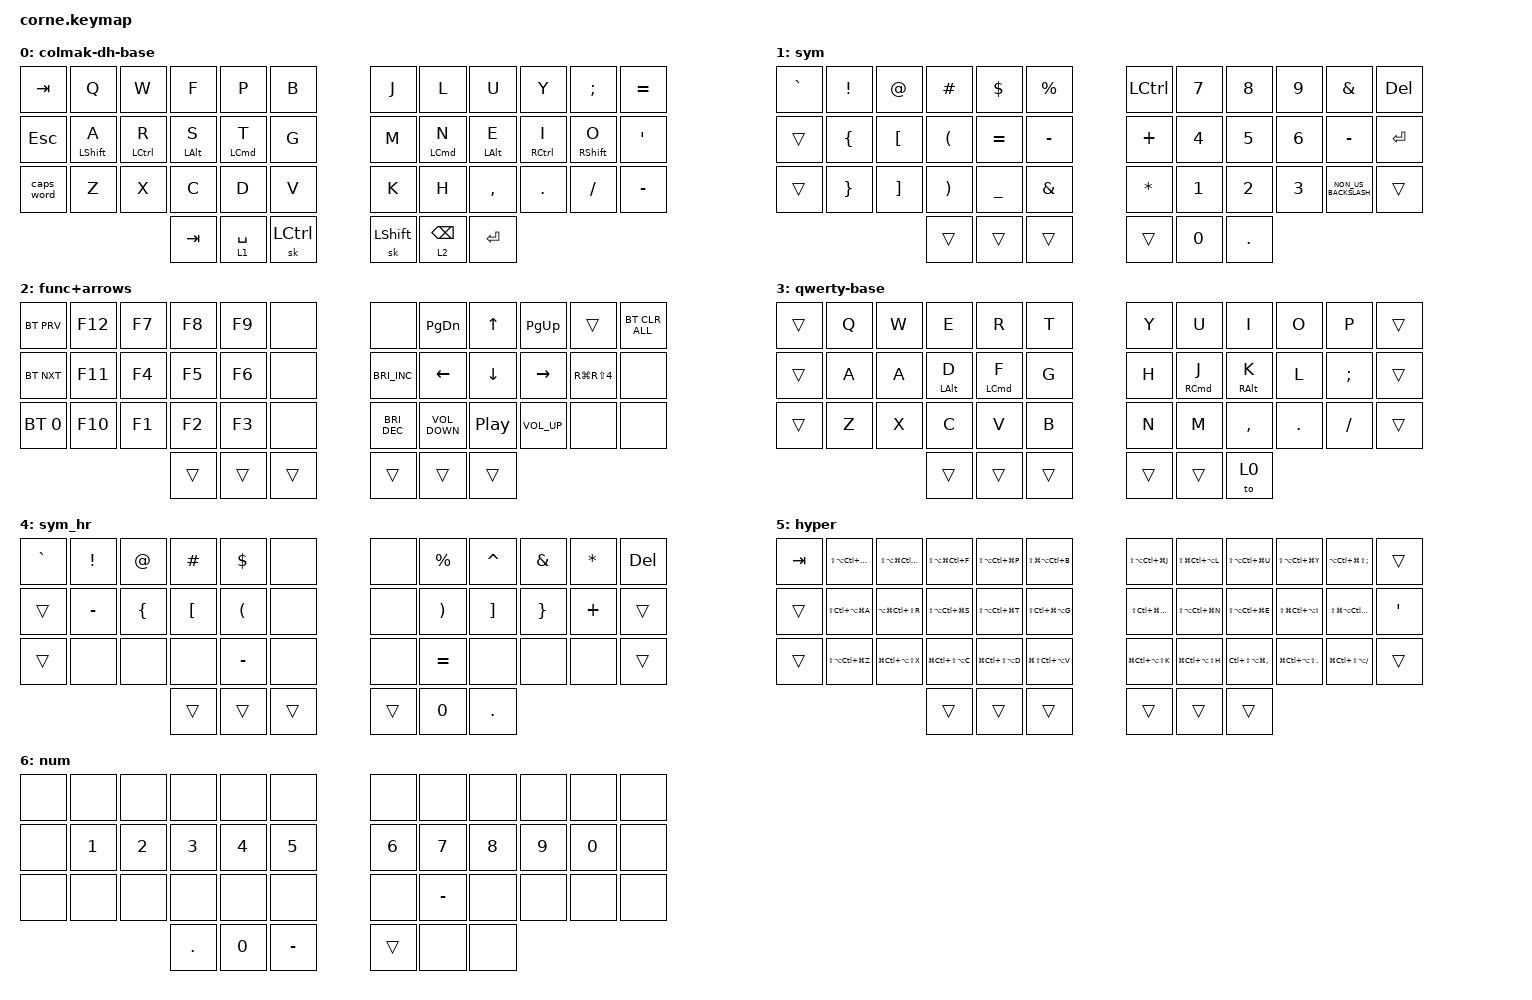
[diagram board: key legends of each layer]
/*
 * Copyright (c) 3520 The ZMK Contributors
 *
 * SPDX-License-Identifier: MIT
 */

#include <behaviors.dtsi>
#include <dt-bindings/zmk/bt.h>
#include <dt-bindings/zmk/keys.h>

&sk {
    release-after-ms = <2000>;
    quick-release;
};

&mt {
    tapping-term-ms = <280>;
    quick-tap-ms = <175>;
    require-prior-idle-ms = <100>;
    flavor = "balanced";
    hold-while-undecided;
    hold-trigger-on-release;
};

&lt {
    tapping-term-ms = <200>;
    quick-tap-ms = <125>;
    require-prior-idle-ms = <80>;
    flavor = "balanced";
    hold-while-undecided;
    hold-trigger-on-release;
};

/ {
    combos {
        compatible = "zmk,combos";

        left_brace {
            bindings = <&kp LEFT_BRACE>;
            key-positions = <4 5>;
            timeout-ms = <35>;
        };

        left_square_bracket {
            bindings = <&kp LEFT_BRACKET>;
            key-positions = <2 3>;
            timeout-ms = <35>;
        };

        left_paren {
            bindings = <&kp LEFT_PARENTHESIS>;
            key-positions = <3 4>;
            timeout-ms = <35>;
        };

        right_brace {
            bindings = <&kp RIGHT_BRACE>;
            key-positions = <6 7>;
            timeout-ms = <35>;
        };

        right_square_bracket {
            bindings = <&kp RIGHT_BRACKET>;
            key-positions = <8 9>;
            timeout-ms = <35>;
        };

        right_paren {
            bindings = <&kp RIGHT_PARENTHESIS>;
            key-positions = <7 8>;
            timeout-ms = <35>;
        };

        underscore {
            bindings = <&kp UNDERSCORE>;
            key-positions = <27 26>;
            timeout-ms = <30>;
        };

        equals {
            bindings = <&kp EQUAL>;
            key-positions = <32 31>;
            timeout-ms = <30>;
        };

        dash {
            bindings = <&kp MINUS>;
            key-positions = <27 28>;
            timeout-ms = <30>;
        };

        plus {
            bindings = <&kp PLUS>;
            key-positions = <32 33>;
            timeout-ms = <30>;
        };

        pipe {
            bindings = <&kp PIPE>;
            key-positions = <29 28>;
            timeout-ms = <30>;
        };

        backslash {
            bindings = <&kp BACKSLASH>;
            key-positions = <30 31>;
            timeout-ms = <30>;
        };

        copy {
            bindings = <&kp LG(C)>;
            key-positions = <27 15>;
            timeout-ms = <30>;
        };

        paste {
            bindings = <&kp LG(V)>;
            key-positions = <16 28>;
            timeout-ms = <30>;
        };

        exclaimation {
            bindings = <&kp EXCL>;
            key-positions = <1 13>;
            timeout-ms = <30>;
        };

        at {
            bindings = <&kp AT_SIGN>;
            key-positions = <14 2>;
            timeout-ms = <30>;
        };

        hash {
            bindings = <&kp HASH>;
            key-positions = <15 3>;
            timeout-ms = <30>;
        };

        dollar {
            bindings = <&kp DOLLAR>;
            key-positions = <16 4>;
            timeout-ms = <30>;
        };

        percent {
            bindings = <&kp PERCENT>;
            key-positions = <5 17>;
            timeout-ms = <30>;
        };

        caret {
            bindings = <&kp CARET>;
            key-positions = <6 18>;
            timeout-ms = <30>;
        };

        ampersand {
            bindings = <&kp AMPERSAND>;
            key-positions = <7 19>;
            timeout-ms = <30>;
        };

        asterisk {
            bindings = <&kp ASTERISK>;
            key-positions = <8 20>;
            timeout-ms = <30>;
        };

        colon {
            bindings = <&kp COLON>;
            key-positions = <9 21>;
            timeout-ms = <30>;
        };

        semi-colon {
            bindings = <&kp SEMICOLON>;
            key-positions = <10 22>;
            timeout-ms = <30>;
        };

        enter {
            bindings = <&kp ENTER>;
            key-positions = <19 20 21>;
            timeout-ms = <30>;
        };

        tab {
            bindings = <&kp TAB>;
            key-positions = <14 16 15>;
            timeout-ms = <30>;
        };
    };

    behaviors {
        to_reset: to_reset {
            compatible = "zmk,behavior-tap-dance";
            label = "TAPDANCE_TO_RESET";
            #binding-cells = <0>;
            bindings = <&none>, <&to_reset>;
        };

        to_boot: to_bootloader {
            compatible = "zmk,behavior-tap-dance";
            label = "TAPDANCE_TO_BOOT";
            #binding-cells = <0>;
            bindings = <&none>, <&to_boot>;
        };

        autoshft: autoshift {
            compatible = "zmk,behavior-hold-tap";
            label = "AUTOSHIFT_HOLD_TAP";
            bindings = <&shift>, <&kp>;

            #binding-cells = <2>;
            tapping-term-ms = <190>;
        };

        hrm_l: homerow_mods_left {
            compatible = "zmk,behavior-hold-tap";
            label = "HOMEROW_MODS_LEFT_HAND";
            bindings = <&kp>, <&kp>;

            #binding-cells = <2>;
            tapping-term-ms = <300>;
            hold-trigger-key-positions = <6 7 8 9 10 11 18 19 20 21 22 23 30 31 32 33 34 35 39 40 41>;
            flavor = "balanced";
            hold-trigger-on-release;
            quick-tap-ms = <200>;
            require-prior-idle-ms = <150>;
        };

        hrm_r: homerow_mods_right {
            compatible = "zmk,behavior-hold-tap";
            label = "HOMEROW_MODS_RIGHT_HAND";
            bindings = <&kp>, <&kp>;

            #binding-cells = <2>;
            tapping-term-ms = <300>;
            hold-trigger-key-positions = <0 1 2 3 4 5 12 13 14 15 16 17 24 25 26 27 28 29 36 37 38>;
            hold-trigger-on-release;
            flavor = "balanced";
            quick-tap-ms = <200>;
            require-prior-idle-ms = <150>;
        };

        capsword_caps: capsword_caps {
            compatible = "zmk,behavior-mod-morph";
            label = "CAPSWORD_CAPSLOCK";
            bindings = <&caps_word>, <&kp CAPS>;

            #binding-cells = <0>;
            mods = <(MOD_LSFT|MOD_RSFT)>;
        };

        shifted_comma: mod-morph_comma {
            compatible = "zmk,behavior-mod-morph";
            bindings = <&kp COMMA>, <&kp SEMICOLON>;

            #binding-cells = <0>;
            mods = <(MOD_LSFT|MOD_RSFT)>;
            keep-mods = <0>;
        };

        shifted_period: mod-morph_period {
            compatible = "zmk,behavior-mod-morph";
            bindings = <&kp DOT>, <&kp COLON>;

            #binding-cells = <0>;
            mods = <(MOD_LSFT|MOD_RSFT)>;
        };

        //        out_tog_usb: output_toggle {
        //          compatible = "zmk,behavior-mod-morph";
        //          label = "OUTPUT-TOGGLE_OUTPUT-USB";
        //          bindings = <&out OUT_TOG>, <&out OUT_USB>;
        //          #binding-cells = <0>;
        //          mods = <(MOD_LSFT|MOD_RSFT)>;
        //      };
        //      btn: button_layer {
        //          compatible = "zmk,behavior-hold-tap";
        //          label = "BUTTON_LAYER";
        //          bindings = <&mo>, <&kp>;
        //          #binding-cells = <2>;
        //          tapping-term-ms = <200>;
        //          flavor = "tap-preferred";
        //      };
        //      to_base: tto_base {
        //          compatible = "zmk,behavior-tap-dance";
        //          label = "TAPDANCE_TO_BASE";
        //          #binding-cells = <0>;
        //          bindings = <&none>, <&to 0>;
        //      };
        //      to_extra: to_extra {
        //          compatible = "zmk,behavior-tap-dance";
        //          label = "TAPDANCE_TO_EXTRA";
        //          #binding-cells = <0>;
        //          bindings = <&none>, <&to 0>;
        //      };
        //      to_tap: to_tap {
        //          compatible = "zmk,behavior-tap-dance";
        //          label = "TAPDANCE_TO_TAP_LAYER";
        //          #binding-cells = <0>;
        //          bindings = <&none>, <&to 0>;
        //      };
        //      to_button: to_button {
        //          compatible = "zmk,behavior-tap-dance";
        //          label = "TAPDANCE_TO_BUTTON";
        //          #binding-cells = <0>;
        //          bindings = <&none>, <&to 0>;
        //      };
        //      to_nav: to_nav {
        //          compatible = "zmk,behavior-tap-dance";
        //          label = "TAPDANCE_TO_NAV";
        //          #binding-cells = <0>;
        //          bindings = <&none>, <&to 0>;
        //      };
        //      to_sym2: to_sym2 {
        //          compatible = "zmk,behavior-tap-dance";
        //          label = "TO_SYM2";
        //          #binding-cells = <0>;
        //          bindings = <&none>, <&to 1>;
        //      };
        //      to_media: to_media {
        //          compatible = "zmk,behavior-tap-dance";
        //          label = "TO_MEDIA";
        //          #binding-cells = <0>;
        //          bindings = <&none>, <&to 0>;
        //      };
        //      to_num: to_num {
        //          compatible = "zmk,behavior-tap-dance";
        //          label = "TO_NUM";
        //          #binding-cells = <0>;
        //          bindings = <&none>, <&to 5>;
        //      };
        //      to_sym: to_sym {
        //          compatible = "zmk,behavior-tap-dance";
        //          label = "TO_SYM";
        //          #binding-cells = <0>;
        //          bindings = <&none>, <&to 5>;
        //      };
        //      to_func: to_func {
        //          compatible = "zmk,behavior-tap-dance";
        //          label = "TO_FUNC";
        //          #binding-cells = <0>;
        //          bindings = <&none>, <&to 5>;
        //      };

        shift_hyper: shift_hyper {
            compatible = "zmk,behavior-mod-morph";
            label = "STICKYSHIFT_STICKYHYPER";
            bindings = <&sk LEFT_SHIFT>, <&sk LA(LS(LG(LCTRL)))>;

            #binding-cells = <0>;
            mods = <(MOD_LSFT|MOD_RSFT)>;
        };

        plus_equal: plus_equal {
            compatible = "zmk,behavior-mod-morph";
            label = "PLUS_EQUAL";
            bindings = <&kp PLUS>, <&kp EQUAL>;

            #binding-cells = <0>;
            mods = <(MOD_RSFT)>;
        };

        ctrl_esc: ctrl_esc {
            compatible = "zmk,behavior-hold-tap";
            label = "CTRL_ESC";
            bindings = <&kp>, <&kp>;

            #binding-cells = <2>;
            tapping-term-ms = <200>;
            quick-tap-ms = <150>;
            require-prior-idle-ms = <(-1)>;
            flavor = "tap-preferred";
        };

        sticky_tap_layer: sticky_tap_layer {
            compatible = "zmk,behavior-hold-tap";
            label = "STICKY_TAP_LAYER";
            bindings = <&mo>, <&sk>;

            #binding-cells = <2>;
            tapping-term-ms = <200>;
            quick-tap-ms = <150>;
            require-prior-idle-ms = <(-1)>;
        };

        hrm_l_quick: hrm_l_quick {
            compatible = "zmk,behavior-hold-tap";
            label = "HRM_L_QUICK";
            bindings = <&kp>, <&kp>;

            #binding-cells = <2>;
            tapping-term-ms = <210>;
            hold-trigger-key-positions = <6 7 8 9 10 11 18 19 20 21 22 23 30 31 32 33 34 35 39 40 41>;
            flavor = "balanced";
            hold-trigger-on-release;
            quick-tap-ms = <190>;
            require-prior-idle-ms = <180>;
        };

        hrm_r_quick: hrm_r_quick {
            compatible = "zmk,behavior-hold-tap";
            label = "HRM_R_QUICK";
            bindings = <&kp>, <&kp>;

            #binding-cells = <2>;
            tapping-term-ms = <210>;
            hold-trigger-key-positions = <0 1 2 3 4 5 12 13 14 15 16 17 24 25 26 27 28 29 36 37 38>;
            hold-trigger-on-release;
            flavor = "balanced";
            quick-tap-ms = <190>;
            require-prior-idle-ms = <180>;
        };
    };

    macros {
        shift: with_lshift {
            compatible = "zmk,behavior-macro-one-param";
            #binding-cells = <1>;
            bindings =
                <&macro_press>,
                <&kp LEFT_SHIFT>,
                <&macro_tap>,
                <&macro_param_1to1 &kp MACRO_PLACEHOLDER>,
                <&macro_release>,
                <&kp LEFT_SHIFT>;

            label = "SHIFTKEY_PRESS_WITH_LEFT_SHIFT_MODIFIER";
        };
    };

    keymap {
        compatible = "zmk,keymap";

        colmak-dh-base {
            // -----------------------------------------------------------------------------------------
            // |   `   |  Q  |  W  |  F  |  P  |  B  |   |  J  |  L   |  U  |  Y  |  ;  |  -   |
            // |cw_caps|  A  |  R  |  S  |  T  |  G  |   |  M  |  N   |  E  |  I  |  O  |  '   |
            // | skSHFT|  Z  |  X  |  C  |  D  |  V  |   |  K  |  H   |  ,  |  .  |  /  |  \   |
            //                    | ESC | SPC | TAB |   | ENT | BKSP | DEL |

            bindings = <
&kp TAB     &kp Q                &kp W                  &kp F              &kp P                  &kp B               &kp J           &kp L                  &kp U              &kp Y                   &kp SEMICOLON         &kp EQUAL
&kp ESCAPE  &hrm_l LEFT_SHIFT A  &hrm_l LEFT_CONTROL R  &hrm_l LEFT_ALT S  &hrm_l LEFT_COMMAND T  &kp G               &kp M           &hrm_r LEFT_COMMAND N  &hrm_r LEFT_ALT E  &hrm_r RIGHT_CONTROL I  &hrm_r RIGHT_SHIFT O  &kp SQT
&caps_word  &kp Z                &kp X                  &kp C              &kp D                  &kp V               &kp K           &kp H                  &kp COMMA          &kp PERIOD              &kp SLASH             &kp MINUS
                                                        &kp TAB            &lt 1 SPACE            &sk LEFT_CONTROL    &sk LEFT_SHIFT  &lt 2 BACKSPACE        &kp ENTER
            >;
        };

        sym {
            bindings = <
&kp GRAVE  &kp EXCLAMATION  &kp AT_SIGN        &kp HASH               &kp DOLLAR      &kp PERCENT      &kp LCTRL     &kp N7        &kp N8        &kp N9        &kp AMPERSAND         &kp DEL
&trans     &kp LEFT_BRACE   &kp LEFT_BRACKET   &kp LEFT_PARENTHESIS   &kp EQUAL       &kp MINUS        &kp PLUS      &kp NUMBER_4  &kp N5        &kp NUMBER_6  &kp MINUS             &kp ENTER
&trans     &kp RIGHT_BRACE  &kp RIGHT_BRACKET  &kp RIGHT_PARENTHESIS  &kp UNDERSCORE  &kp AMPERSAND    &kp ASTERISK  &kp NUMBER_1  &kp NUMBER_2  &kp NUMBER_3  &kp NON_US_BACKSLASH  &trans
                                               &trans                 &trans          &trans           &trans        &kp N0        &kp PERIOD
            >;
        };

        func+arrows {
            bindings = <
&bt BT_PRV    &kp F12  &kp F7  &kp F8  &kp F9  &none     &none                 &kp PAGE_DOWN      &kp UP_ARROW      &kp PAGE_UP      &trans                &bt BT_CLR_ALL
&bt BT_NXT    &kp F11  &kp F4  &kp F5  &kp F6  &none     &kp C_BRIGHTNESS_INC  &kp LEFT_ARROW     &kp DOWN_ARROW    &kp RIGHT        &kp RG(RS(NUMBER_4))  &none
&bt BT_SEL 0  &kp F10  &kp F1  &kp F2  &kp F3  &none     &kp C_BRIGHTNESS_DEC  &kp C_VOLUME_DOWN  &kp C_PLAY_PAUSE  &kp C_VOLUME_UP  &none                 &none
                               &trans  &trans  &trans    &trans                &trans             &trans
            >;
        };

        qwerty-base {
            bindings = <
&trans  &kp Q  &kp W  &kp E              &kp R                  &kp T     &kp Y   &kp U                   &kp I               &kp O    &kp P          &trans
&trans  &kp A  &kp A  &hrm_l LEFT_ALT D  &hrm_l LEFT_COMMAND F  &kp G     &kp H   &hrm_r RIGHT_COMMAND J  &hrm_r RIGHT_ALT K  &kp L    &kp SEMICOLON  &trans
&trans  &kp Z  &kp X  &kp C              &kp V                  &kp B     &kp N   &kp M                   &kp COMMA           &kp DOT  &kp FSLH       &trans
                      &trans             &trans                 &trans    &trans  &trans                  &to 0
            >;
        };

        sym_hr {
            bindings = <
&kp GRAVE  &kp EXCLAMATION  &kp AT_SIGN     &kp HASH          &kp DOLLAR            &none     &none   &kp PERCENT            &kp CARET          &kp AMPERSAND    &kp ASTERISK  &kp DEL
&trans     &kp MINUS        &kp LEFT_BRACE  &kp LEFT_BRACKET  &kp LEFT_PARENTHESIS  &none     &none   &kp RIGHT_PARENTHESIS  &kp RIGHT_BRACKET  &kp RIGHT_BRACE  &kp PLUS      &trans
&trans     &none            &none           &none             &kp MINUS             &none     &none   &kp EQUAL              &none              &none            &none         &trans
                                            &trans            &trans                &trans    &trans  &kp N0                 &kp PERIOD
            >;
        };

        hyper {
            bindings = <
&kp TAB  &kp LS(LA(LC(LG(Q))))  &kp LS(LA(LG(LC(W))))  &kp LS(LA(LG(LC(F))))  &kp LS(LA(LC(LG(P))))  &kp LS(LG(LA(LC(B))))    &kp LS(LA(LC(LG(J))))  &kp LS(LG(LC(LA(L))))  &kp LS(LA(LC(LG(U))))      &kp LS(LA(LC(LG(Y))))    &kp LA(LC(LG(LS(SEMI))))  &trans
&trans   &kp LS(LC(LA(LG(A))))  &kp LA(LG(LC(LS(R))))  &kp LS(LA(LC(LG(S))))  &kp LS(LA(LC(LG(T))))  &kp LS(LC(LG(LA(G))))    &kp LS(LC(LG(LA(M))))  &kp LS(LA(LC(LG(N))))  &kp LS(LA(LC(LG(E))))      &kp LS(LG(LC(LA(I))))    &kp LS(LG(LA(LC(O))))     &kp APOS
&trans   &kp LS(LA(LC(LG(Z))))  &kp LG(LC(LA(LS(X))))  &kp LG(LC(LS(LA(C))))  &kp LG(LC(LS(LA(D))))  &kp LG(LS(LC(LA(V))))    &kp LG(LC(LA(LS(K))))  &kp LG(LC(LA(LS(H))))  &kp LC(LS(LA(LG(COMMA))))  &kp LG(LC(LA(LS(DOT))))  &kp LG(LC(LS(LA(FSLH))))  &trans
                                                       &trans                 &trans                 &trans                   &trans                 &trans                 &trans
            >;
        };

        num {
            bindings = <
&none  &none         &none         &none         &none         &none        &none         &none      &none   &none   &none   &none
&none  &kp NUMBER_1  &kp NUMBER_2  &kp NUMBER_3  &kp NUMBER_4  &kp N5       &kp NUMBER_6  &kp N7     &kp N8  &kp N9  &kp N0  &none
&none  &none         &none         &none         &none         &none        &none         &kp MINUS  &none   &none   &none   &none
                                   &kp PERIOD    &kp N0        &kp MINUS    &trans        &none      &none
            >;
        };
    };

    conditional_layers {
        compatible = "zmk,conditional-layers";

        hyper {
            if-layers = <1 2>;
            then-layer = <5>;
        };
    };
};
